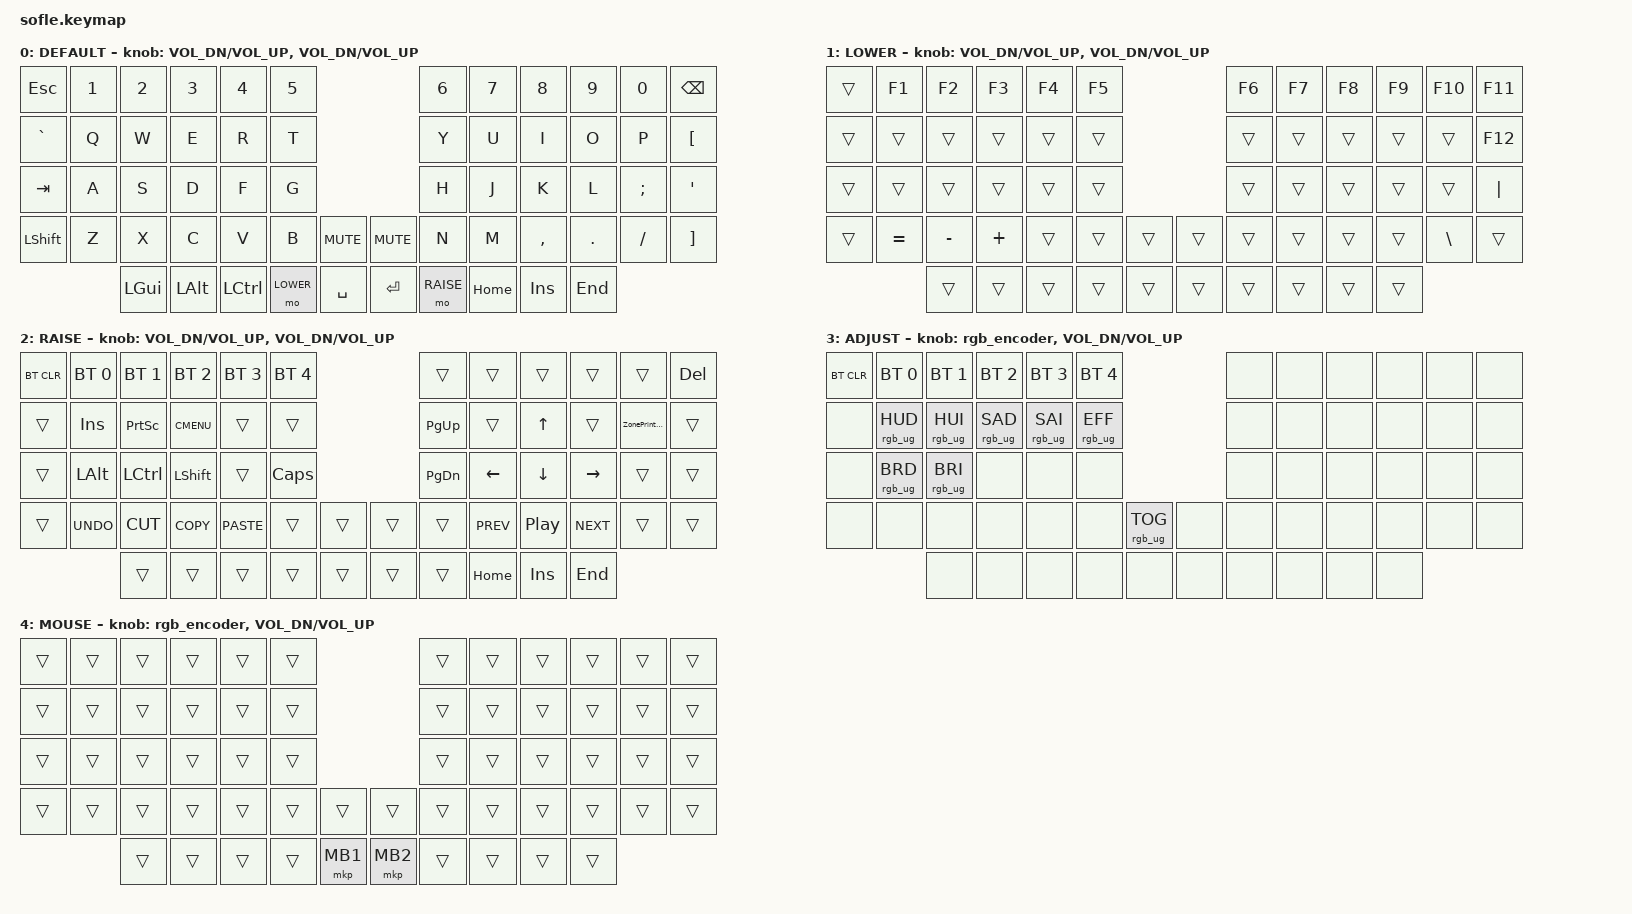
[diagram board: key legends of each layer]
#include <behaviors.dtsi>
#include <dt-bindings/zmk/keys.h>
#include <dt-bindings/zmk/bt.h>
#include <dt-bindings/zmk/rgb.h>
#include <dt-bindings/zmk/ext_power.h>
#include <dt-bindings/zmk/pointing.h>

#define BASE 0
#define LOWER 1
#define RAISE 2
#define ADJUST 3
#define MOUSE 4

/ {

   // Activate ADJUST layer by pressing raise and lower
    conditional_layers {
        compatible = "zmk,conditional-layers";
        adjust_layer {
            if-layers = <LOWER RAISE>;
            then-layer = <ADJUST>;
        };
    };

    behaviors {
        rgb_encoder: rgb_encoder {
            compatible = "zmk,behavior-sensor-rotate";
            #sensor-binding-cells = <0>;
            bindings = <&rgb_ug RGB_BRD>, <&rgb_ug RGB_BRI>;
        };
    };
    
    macros {
        ZonePrintScreen: ZonePrintScreen {
            compatible = "zmk,behavior-macro";
            #binding-cells = <0>;
            bindings = <&kp LS(LG(S))>;
            label = "ZONEPRINTSCREEN";
        };
    }
    ;
    keymap {
        compatible = "zmk,keymap";

        default_layer {
            display-name = "DEFAULT";

            // ------------------------------------------------------------------------------------------------------------
            // |  ESC  |  1  |  2  |  3   |  4   |  5   |                   |  6   |  7    |  8    |  9   |   0   | BKSPC |
            // |   `   |  Q  |  W  |  E   |  R   |  T   |                   |  Y   |  U    |  I    |  O   |   P   |   [   |
            // |  TAB  |  A  |  S  |  D   |  F   |  G   |                   |  H   |  J    |  K    |  L   |   ;   |   '   |
            // | SHIFT |  Z  |  X  |  C   |  V   |  B   |  MUTE  |  | MUTE  |  N   |  M    |  ,    |  .   |   /   |   ]   |
            //               | GUI | ALT  | CTRL | LOWER|  SPACE |  | ENTER | RAISE| HOME  | INS   | END  |

            bindings = <
&kp ESC    &kp N1  &kp N2    &kp N3    &kp N4     &kp N5                               &kp N6     &kp N7    &kp N8     &kp N9   &kp N0    &kp BSPC
&kp GRAVE  &kp Q   &kp W     &kp E     &kp R      &kp T                                &kp Y      &kp U     &kp I      &kp O    &kp P     &kp LEFT_BRACKET
&kp TAB    &kp A   &kp S     &kp D     &kp F      &kp G                                &kp H      &kp J     &kp K      &kp L    &kp SEMI  &kp SQT
&kp LSHFT  &kp Z   &kp X     &kp C     &kp V      &kp B      &kp C_MUTE    &kp C_MUTE  &kp N      &kp M     &kp COMMA  &kp DOT  &kp FSLH  &kp RIGHT_BRACKET
                   &kp LGUI  &kp LALT  &kp LCTRL  &mo LOWER  &kp SPACE     &kp ENTER   &mo RAISE  &kp HOME  &kp INS    &kp END
            >;

            sensor-bindings =
                <&inc_dec_kp C_VOL_DN C_VOL_UP>,
                <&inc_dec_kp C_VOL_DN C_VOL_UP>;
        };

        lower_layer {
            display-name = "LOWER";

            // ------------------------------------------------------------------------------------------------------------
            // |       |  F1 |  F2 |  F3  |  F4  |  F5  |                   |  F6  |  F7   |  F8   |  F9  |  F10  |  F11  |
            // |       |     |     |      |      |      |                   |      |       |       |      |       |  F12  |
            // |       |     |     |      |      |      |                   |      |       |       |      |       |   |   |
            // |       |  =  |  -  |  +   |      |      |        |  |       |      |       |       |      |   \   |       |
            //               |     |      |      |      |        |  |       |      |       |       |      |

            bindings = <
&trans  &kp F1     &kp F2     &kp F3    &kp F4  &kp F5                    &kp F6  &kp F7  &kp F8  &kp F9  &kp F10   &kp F11
&trans  &trans     &trans     &trans    &trans  &trans                    &trans  &trans  &trans  &trans  &trans    &kp F12
&trans  &trans     &trans     &trans    &trans  &trans                    &trans  &trans  &trans  &trans  &trans    &kp PIPE
&trans  &kp EQUAL  &kp MINUS  &kp PLUS  &trans  &trans  &trans    &trans  &trans  &trans  &trans  &trans  &kp BSLH  &trans
                   &trans     &trans    &trans  &trans  &trans    &trans  &trans  &trans  &trans  &trans
            >;

            sensor-bindings =
                <&inc_dec_kp C_VOL_DN C_VOL_UP>,
                <&inc_dec_kp C_VOL_DN C_VOL_UP>;
        };

        raise_layer {
            display-name = "RAISE";

            // ------------------------------------------------------------------------------------------------------------
            // | BTCLR | BT1  | BT2  |  BT3  |  BT4  |  BT5 |                |      |      |       |      |       | DEL   |
            // |       | INS  | PSCR | GUI   |       |      |                | PGUP |      |   ^   |      | PZ    |       |
            // |       | ALT  | CTRL | SHIFT |       | CAPS |                | PGDN |   <- |   v   |  ->  |       |       |
            // |       | UNDO | CUT  | COPY  | PASTE |      |      |  |      |      | PREW | PLAY  | NEXT |       |       |
            //                |      |       |       |      |      |  |      |      | HOME |INSERT |  END |

            bindings = <
&bt BT_CLR  &bt BT_SEL 0  &bt BT_SEL 1  &bt BT_SEL 2  &bt BT_SEL 3  &bt BT_SEL 4                    &trans     &trans      &trans            &trans      &trans            &kp DELETE
&trans      &kp INS       &kp PSCRN     &kp K_CMENU   &trans        &trans                          &kp PG_UP  &trans      &kp UP            &trans      &ZonePrintScreen  &trans
&trans      &kp LALT      &kp LCTRL     &kp LSHFT     &trans        &kp CLCK                        &kp PG_DN  &kp LEFT    &kp DOWN          &kp RIGHT   &trans            &trans
&trans      &kp K_UNDO    &kp K_CUT     &kp K_COPY    &kp K_PASTE   &trans        &trans    &trans  &trans     &kp C_PREV  &kp C_PLAY_PAUSE  &kp C_NEXT  &trans            &trans
                          &trans        &trans        &trans        &trans        &trans    &trans  &trans     &kp HOME    &kp INSERT        &kp END
            >;

            sensor-bindings =
                <&inc_dec_kp C_VOL_DN C_VOL_UP>,
                <&inc_dec_kp C_VOL_DN C_VOL_UP>;
        };

        adjust_layer {
            // ----------------------------------------------------------------------------------------------------------------------------
            // | BTCLR  |  BT1    |  BT2    |   BT3   |   BT4   |   BT5   |                  |      |      |       |      |       |       |
            // |        | RGB_HUD | RGB_HUI | RGB_SAD | RGB_SAI | RGB_EFF |                  |      |      |       |      |       |       |
            // |        | RGB_BRD | RGB_BRI |         |         |         |                  |      |      |       |      |       |       |
            // |        |         |         |         |         |         | RGB_TOG | |      |      |      |       |      |       |       |
            //                    |         |         |         |         |         | |      |      |      |       |      |

            display-name = "ADJUST";
            bindings = <
&bt BT_CLR  &bt BT_SEL 0     &bt BT_SEL 1     &bt BT_SEL 2     &bt BT_SEL 3     &bt BT_SEL 4                               &none  &none  &none  &none  &none  &none
&none       &rgb_ug RGB_HUD  &rgb_ug RGB_HUI  &rgb_ug RGB_SAD  &rgb_ug RGB_SAI  &rgb_ug RGB_EFF                            &none  &none  &none  &none  &none  &none
&none       &rgb_ug RGB_BRD  &rgb_ug RGB_BRI  &none            &none            &none                                      &none  &none  &none  &none  &none  &none
&none       &none            &none            &none            &none            &none            &rgb_ug RGB_TOG    &none  &none  &none  &none  &none  &none  &none
                             &none            &none            &none            &none            &none              &none  &none  &none  &none  &none
            >;

            sensor-bindings = 
                <&rgb_encoder>, 
                <&inc_dec_kp C_VOL_DN C_VOL_UP>;
        };

        mouse_layer {
            // --------------------------------------------------------------------------------------------------------------------------------
            // |        |        |        |        |        |        |                  |        |        |        |        |        |        |
            // |        |        |        |        |        |        |                  |        |        |        |        |        |        |
            // |        |        |        |        |        |        |                  |        |        |        |        |        |        |
            // |        |        |        |        |        |        |                  |        |        |        |        |        |        |
            //                   |        |        |        |        | mouseLC||mouseRC |        |        |        |        |
            display-name = "MOUSE";
            bindings = <
&trans  &trans  &trans  &trans  &trans  &trans                        &trans  &trans  &trans  &trans  &trans  &trans
&trans  &trans  &trans  &trans  &trans  &trans                        &trans  &trans  &trans  &trans  &trans  &trans
&trans  &trans  &trans  &trans  &trans  &trans                        &trans  &trans  &trans  &trans  &trans  &trans
&trans  &trans  &trans  &trans  &trans  &trans  &trans      &trans    &trans  &trans  &trans  &trans  &trans  &trans
                &trans  &trans  &trans  &trans  &mkp MB1    &mkp MB2  &trans  &trans  &trans  &trans
            >;

            sensor-bindings = 
                <&rgb_encoder>, 
                <&inc_dec_kp C_VOL_DN C_VOL_UP>;
        };
    };
};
